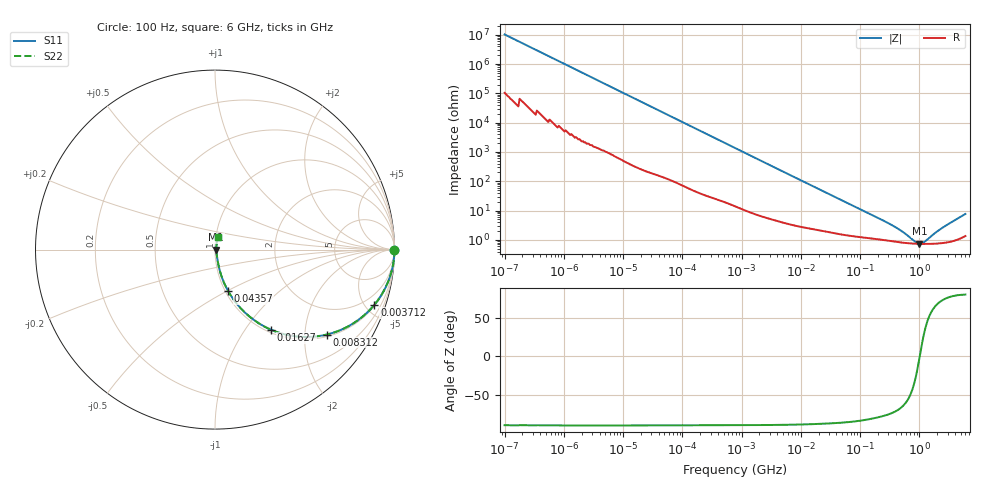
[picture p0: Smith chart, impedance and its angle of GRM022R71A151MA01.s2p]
!Murata Part Number: GRM022R71A151MA01
!These Parameters are Measured in Series Mode Connection
!Data Generated on Mar 30, 2021
!  o--ll--o
!Port1  Port2
!  o------o
!Operation Temp=25[degC], DC Bias Voltage=0[V]
!Freq. Start=100[Hz] Stop=6[GHz] 401[Steps]
# Hz S RI R 50
!Freq.(Hz) S11(Real) S11(Imag) S21(Real) S21(Imag) S12(Real) S12(Imag) S22(Real) S22(Imag)
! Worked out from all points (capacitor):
!   401 points, 100 Hz to 6 GHz, reference 50 ohm
!   read as one part in series: C = 156 pF near 109 Hz
!   lowest |Z| = 732 mohm at 1.001 GHz (marker M1)
!   series resonance near 1.019 GHz, so ESL is about 160 pH
!   S11 on the Smith chart (normalised r, x): 100 Hz: open; 3.712 MHz: 1.09, -5.75; 8.312 MHz: 1.06, -2.58; 16.27 MHz: 1.05, -1.33; 43.57 MHz: 1.03, -0.50; 6 GHz: 1.03, +0.15
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100  1 -9.8e-06  1e-07 9.8e-06  1e-07 9.8e-06  1 -9.8e-06
981  1 -9.51e-05  5e-07 9.51e-05  5e-07 9.51e-05  1 -9.51e-05
2008  1 -0.000194  9e-07 0.000194  9e-07 0.000194  1 -0.000194
40335  1 -0.00387  3.79e-05 0.00387  3.79e-05 0.00387  1 -0.00387
241822  0.9993 -0.023  0.000705 0.023  0.000705 0.023  0.9993 -0.023
774597  0.9939 -0.0728  0.00608 0.0728  0.00608 0.0728  0.9939 -0.0728
1734173  0.9722 -0.1584  0.0278 0.1584  0.0278 0.1584  0.9722 -0.1584
3712478  0.8882 -0.3072  0.1118 0.3072  0.1118 0.3072  0.8882 -0.3072
5554849  0.7835 -0.4025  0.2165 0.4025  0.2165 0.4025  0.7835 -0.4025
8311524  0.6227 -0.4733  0.3773 0.4733  0.3773 0.4733  0.6227 -0.4733
1.555665e7  0.3311 -0.454  0.6689 0.454  0.6689 0.454  0.3311 -0.454
1.626902e7  0.3126 -0.4465  0.6874 0.4465  0.6874 0.4465  0.3126 -0.4465
2.545746e7  0.1659 -0.3499  0.8341 0.3499  0.8341 0.3499  0.1659 -0.3499
4.35672e7  0.0727 -0.2301  0.9273 0.2301  0.9273 0.2301  0.0727 -0.2301
1.020051e8  0.0235 -0.105  0.9765 0.105  0.9765 0.105  0.0235 -0.105
3.124326e8  0.0103 -0.0337  0.9897 0.0337  0.9897 0.0337  0.0103 -0.0337
5.112761e8  0.00828 -0.0175  0.9917 0.0175  0.9917 0.0175  0.00828 -0.0175
8.749838e8  0.00734 -0.00363  0.9927 0.00363  0.9927 0.00363  0.00734 -0.00363
1.000774e9  0.00726 -0.000416  0.9927 0.000416  0.9927 0.000416  0.00726 -0.000416
1.197065e9  0.00723 0.00389  0.9928 -0.00389  0.9928 -0.00389  0.00723 0.00389
2.450438e9  0.00828 0.0241  0.9917 -0.0241  0.9917 -0.0241  0.00828 0.0241
6e9  0.0187 0.0729  0.9813 -0.0729  0.9813 -0.0729  0.0187 0.0729
